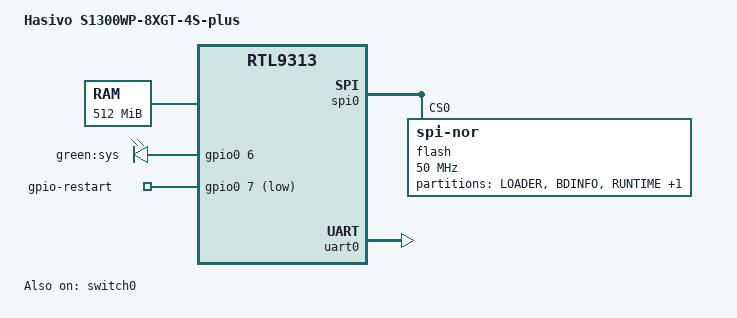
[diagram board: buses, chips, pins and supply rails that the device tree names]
// SPDX-License-Identifier: GPL-2.0-or-later
/dts-v1/;

#include "rtl931x.dtsi"
#include <dt-bindings/gpio/gpio.h>

/ {
	compatible = "hasivo,s1300wp-8xgt-4s+", "realtek,rtl9313";
	model = "Hasivo S1300WP-8XGT-4S-plus";

	memory@0 {
		device_type = "memory";
		reg = <0x00000000 0x20000000>;	/* 512 MiB DDR3 */
	};

	chosen {
		bootargs = "console=ttyS0,38400";
	};

	aliases {
		serial0 = &uart0;
	};

	leds: leds {
		compatible = "gpio-leds";
		/* TODO: real GPIO numbers once you map them */
		sys {
			label = "green:sys";
			gpios = <&gpio0 6 GPIO_ACTIVE_HIGH>;
			default-state = "on";
		};
	};

	gpio-restart {
		compatible = "gpio-restart";
		gpios = <&gpio0 7 GPIO_ACTIVE_LOW>; /* front-panel reset button */
	};
};

/* ---------- on-board SPI NOR ------------------------------------------ */

&spi0 {
	status = "okay";

	flash@0 {
		compatible = "jedec,spi-nor";
		reg = <0>;
		spi-max-frequency = <50000000>;

		partitions {
			compatible = "fixed-partitions";
			#address-cells = <1>;
			#size-cells   = <1>;

			loader: partition@0 {
				label  = "LOADER";
				reg    = <0x000000 0x0e0000>;
				read-only;
			};
			env@e0000 {
				label  = "BDINFO";
				reg    = <0x0e0000 0x010000>;
			};
			/* … replicate the map you printed in the boot-log … */
			runtime@300000 {
				label = "RUNTIME";
				reg   = <0x300000 0x700000>;
			};
			runtime2@a00000 {
				label = "RUNTIME2";
				reg   = <0xa00000 0x600000>;
			};
		};
	};
};

/* ---------- Ethernet switch fabric ----------------------------------- */

&switch0 {
	status = "okay";

	ports {
		/* 8× 10GBase-T (RTL8264 ×2) ------- */
		port@0  { reg = < 0 >; label = "lan1";  phy-mode = "sgmii"; };
		port@1  { reg = < 1 >; label = "lan2";  phy-mode = "sgmii"; };
		port@2  { reg = < 2 >; label = "lan3";  phy-mode = "sgmii"; };
		port@3  { reg = < 3 >; label = "lan4";  phy-mode = "sgmii"; };
		port@4  { reg = < 4 >; label = "lan5";  phy-mode = "sgmii"; };
		port@5  { reg = < 5 >; label = "lan6";  phy-mode = "sgmii"; };
		port@6  { reg = < 6 >; label = "lan7";  phy-mode = "sgmii"; };
		port@7  { reg = < 7 >; label = "lan8";  phy-mode = "sgmii"; };

		/* 4× 10 G SFP+ cages -------------- */
		port@28 { reg = <28>; label = "sfp9";  phy-mode = "10gsr"; };
		port@29 { reg = <29>; label = "sfp10"; phy-mode = "10gsr"; };
		port@30 { reg = <30>; label = "sfp11"; phy-mode = "10gsr"; };
		port@31 { reg = <31>; label = "sfp12"; phy-mode = "10gsr"; };

		/* CPU port ------------------------ */
		cpu_port@48 {
			reg = <48>;
			ethernet = <&ethernet0>;
			phy-mode = "internal";
		};
	};
};

/* ---------- UART ------------------------------------------------------ */

&uart0 { status = "okay"; };

